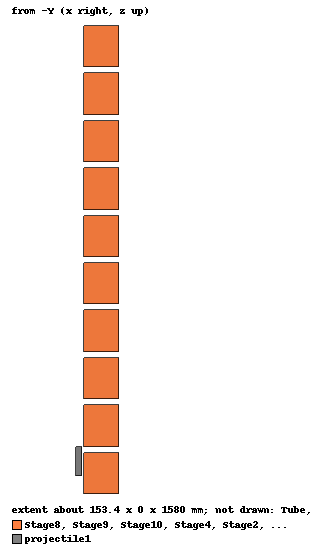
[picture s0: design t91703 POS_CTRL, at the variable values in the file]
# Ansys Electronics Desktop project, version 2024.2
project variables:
  $coilLen1 = 140mm  # optimise 12.5mm..37.5mm
  $coilLen2 = 140mm  # optimise 10mm..30mm
  $coilLen3 = 140mm  # optimise 12.5mm..37.5mm
  $coilLen4 = 140mm  # optimise 12.5mm..37.5mm
  $coilLen5 = 140mm  # optimise 12.5mm..37.5mm
  $coilLen6 = 140mm  # optimise 12.5mm..37.5mm
  $coilLen7 = 140mm  # optimise 12.5mm..37.5mm
  $coilLen8 = 140mm  # optimise 12.5mm..37.5mm
  $coilLen9 = 140mm  # optimise 10mm..30mm
  $coilLen10 = 140mm  # optimise 10mm..30mm
  $initZ = 60mm  # optimise -25mm..0mm
  $Turn1 = 120  # optimise 100..300
  $Turn2 = 120  # optimise 100..300
  $Turn3 = 120  # optimise 100..300
  $Turn4 = 120  # optimise 100..300
  $Turn5 = 120  # optimise 100..300
  $Turn6 = 120  # optimise 100..300
  $Turn7 = 120  # optimise 100..300
  $Turn8 = 120  # optimise 100..300
  $Turn9 = 120  # optimise 125..375
  $Turn10 = 120  # optimise 75..225
  $C1 = 3000uF  # optimise 240uF..720uF
  $V = 3000V
  $POSdur1 = 40mm  # optimise 5.10705373801095mm..15.3211612140328mm
  $holeD = 2*($tubeGap+$projRadius)
  $p = if($idx_Material==1, 2.65e-8, 1.75e-8)  # Resistivity of copper
  $C2 = 3000uF  # optimise 180uF..540uF
  $C3 = 3000uF  # optimise 120uF..360uF
  $C4 = 3000uF  # optimise 60uF..180uF
  $C5 = 3000uF  # optimise 120uF..360uF
  $C6 = 3000uF  # optimise 60uF..180uF
  $Rlast = 3.102062ohm  # optimise 1.35ohm..4.05ohm
  $POSdur2 = 60mm  # optimise 6.3223486477022mm..18.9670459431066mm
  $POSon2 = 130mm  # optimise 7.00235344105195mm..21.0070603231559mm
  $POSdur3 = 60mm  # optimise 6.29933300393615mm..18.8979990118084mm
  $g2 = 130mm  # optimise 14.0771126732556mm..42.231338019767mm
  $POSdur4 = 60mm  # optimise 7.2608877583829mm..21.7826632751487mm
  $g3 = 130mm  # optimise 8.3902807814862mm..25.1708423444586mm
  $POSdur5 = 60mm  # optimise 7.2230176864864mm..21.6690530594592mm
  $g4 = 130mm  # optimise 8.0289155274489mm..24.0867465823467mm
  $POSdur6 = 60mm  # optimise 6.5180478499143mm..19.5541435497429mm
  $g5 = 130mm  # optimise 12.9083625924267mm..38.7250877772801mm
  $g6 = 130mm  # optimise 7.5mm..22.5mm
  $C10 = 3000uF  # optimise 120uF..360uF
  $C9 = 3000uF  # optimise 120uF..360uF
  $C8 = 3000uF  # optimise 120uF..360uF
  $C7 = 3000uF  # optimise 120uF..360uF
  $POSdur7 = 60mm  # optimise 5mm..15mm
  $POSdur8 = 60mm  # optimise 7.5mm..22.5mm
  $POSdur9 = 60mm  # optimise 7.5mm..22.5mm
  $POSdur10 = 60mm  # optimise 8mm..24mm
  $g7 = 130mm  # optimise 5mm..15mm
  $g8 = 130mm  # optimise 8mm..24mm
  $g9 = 130mm  # optimise 5mm..15mm
  $Clast = 2uF
  $projLen = 100mm  # optimise 50mm..150mm
  $projRadius = 100mm
  $tubeGap = 5mm
  $coilThick1 = 120mm  # optimise 25mm..75mm
  $coilThick2 = 120mm  # optimise 25mm..75mm
  $coilThick3 = 120mm  # optimise 25mm..75mm
  $coilThick4 = 120mm  # optimise 25mm..75mm
  $coilThick5 = 120mm  # optimise 25mm..75mm
  $coilThick6 = 120mm  # optimise 25mm..75mm
  $coilThick7 = 120mm  # optimise 25mm..75mm
  $coilThick8 = 120mm  # optimise 25mm..75mm
  $coilThick9 = 120mm  # optimise 25mm..75mm
  $coilThick10 = 120mm  # optimise 25mm..75mm
  $kcoil = 0.72  # Filling constant of coil
  $OuterCoilRadius1 = $projRadius+$tubeGap+$coilThick1
  $OuterCoilRadius2 = $tubeGap+$projRadius+$coilThick2
  $OuterCoilRadius3 = $tubeGap+$projRadius+$coilThick3
  $OuterCoilRadius10 = $tubeGap+$projRadius+$coilThick10
  $OuterCoilRadius4 = $tubeGap+$projRadius+$coilThick4
  $OuterCoilRadius5 = $tubeGap+$projRadius+$coilThick5
  $OuterCoilRadius6 = $tubeGap+$projRadius+$coilThick6
  $OuterCoilRadius7 = $tubeGap+$projRadius+$coilThick7
  $OuterCoilRadius8 = $tubeGap+$projRadius+$coilThick8
  $OuterCoilRadius9 = $tubeGap+$projRadius+$coilThick9
  $projThick = 20mm  # optimise 10mm..30mm
  $idx_Material = 1  # coil material 1=Al, 0=Cu; optimise -1..1
  $density = if($idx_Material==1, 2.7e6, 8.92e6)
  $StoreEnergy = ($V)^2*($C1+$C2+$C3+$C4+$C5+$C6+$C7+$C8+$C9+$C10)*0.5
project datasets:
  $Electrical_conductivity_with_temperature_109: units cel, : (19.85, 1.00592) (87.22, 0.820363) (154.6, 0.6713) (222, 0.553591) (289.3, 0.461069) (356.7, 0.388079) (424.1, 0.329996) (491.4, 0.283221) (558.8, 0.245355) (626.2, 0.214343) (693.5, 0.188471) (760.9, 0.167037) (828.3, 0.154461) (895.6, 0.150845) (963, 0.147847) (1030, 0.145328) (1098, 0.14317) (1165, 0.141285) (1232, 0.139571) (1300, 0.137961)
  $Thermal_conductivity_with_temperature_109: units cel, : (-240.2, 0.538415) (-204.3, 0.863607) (-168.5, 0.990358) (-132.6, 1.02269) (-96.74, 1.02399) (-60.87, 1.02029) (-25.01, 1.01382) (10.86, 1.00385) (46.72, 0.991466) (82.59, 0.976685) (118.5, 0.960425) (154.3, 0.942687) (190.2, 0.923841) (226.1, 0.904071) (261.9, 0.883746) (297.8, 0.863237) (333.6, 0.842174) (369.5, 0.82074) (405.4, 0.799307) (441.2, 0.777135) (477.1, 0.754778) (513, 0.731867) (548.8, 0.708032) (584.7, 0.683273) (620.6, 0.657036) (656.4, 0.629136) (692.3, 0.599019) (728.2, 0.566315) (764, 0.530285) (799.9, 0.49056)
  $Specific_heat_capacity_with_temperature_109: units cel, : (19.85, 0.998793) (80.96, 1.03309) (142.1, 1.05482) (203.2, 1.08454) (264.3, 1.13558) (325.4, 1.21434) (386.5, 1.31983) (447.6, 1.44385) (508.7, 1.57087) (569.9, 1.67835)
  $Tensile_modulus_with_temperature_109: units cel, : (-260.2, 1.04416) (-182.3, 1.0371) (-104.4, 1.02344) (-26.47, 1.00791) (51.43, 0.995198) (129.3, 0.979663) (207.2, 0.958478) (285.1, 0.931174) (363, 0.89775) (440.9, 0.858205) (518.8, 0.812541) (596.7, 0.760757) (674.6, 0.702853) (752.5, 0.639299) (830.4, 0.601167) (908.3, 0.576217) (986.2, 0.551266) (1064, 0.526316) (1142, 0.501836) (1220, 0.476885)
  $Thermal_expansion_coefficient_with_temperature_109: units cel, : (-270.1, 0.599301) (-227.9, 0.719302) (-185.7, 0.804904) (-143.5, 0.866173) (-101.3, 0.911162) (-59.04, 0.946173) (-16.82, 0.975057) (25.41, 1.00219) (67.63, 1.02845) (109.9, 1.05471) (152.1, 1.08184) (194.3, 1.10897) (236.5, 1.13611) (278.7, 1.16149) (321, 1.18425) (363.2, 1.20438) (405.4, 1.22189) (447.6, 1.23939) (489.9, 1.25427) (532.1, 1.26827) (574.3, 1.27965) (616.5, 1.29016) (658.7, 1.29803) (701, 1.30066) (743.2, 1.13436) (785.4, 0.958427) (827.6, 0.982935) (869.9, 1.02582)
  $Electrical_conductivity_with_temperature_649: units cel, : (-260.2, 1.46789) (-199.1, 1.32669) (-138, 1.21273) (-76.99, 1.11955) (-15.94, 1.04142) (45.11, 0.974768) (106.2, 0.918145) (167.2, 0.86869) (228.3, 0.825685) (289.3, 0.788415) (350.4, 0.754728) (411.4, 0.725342) (472.5, 0.698464) (533.5, 0.674596) (594.6, 0.653094) (655.6, 0.633599) (716.7, 0.615895) (777.7, 0.599912) (838.8, 0.585291) (899.9, 0.571959)
  $Thermal_conductivity_with_temperature_649: units cel, : (20, 0.998604) (21.1114, 0.999383) (37.7781, 1.011) (65.5559, 1.04587) (93.3336, 1.08073) (121.111, 1.11559) (148.889, 1.13883) (176.667, 1.17369) (204.445, 1.20855) (232.223, 1.23179) (260, 1.26666) (287.778, 1.2899) (315.556, 1.31314) (343.334, 1.348) (371.112, 1.37124) (398.889, 1.39449) (426.667, 1.42935) (454.445, 1.45259) (482.223, 1.47583) (510.001, 1.49907) (537.778, 1.52231) (565.556, 1.55717) (593.334, 1.58042) (621.112, 1.60366) (648.89, 1.6269) (676.667, 1.66176) (704.445, 1.685) (732.223, 1.70824) (760.001, 1.73148) (787.779, 1.75473) (815.556, 1.77797)
  $Specific_heat_capacity_with_temperature_649: units cel, : (-260.2, 0.0150354) (-192.3, 0.46157) (-124.4, 0.758641) (-56.47, 0.915951) (11.43, 0.995029) (79.32, 1.02696) (147.2, 1.0481) (215.1, 1.05867) (283, 1.06628) (350.9, 1.07601) (418.8, 1.09102) (486.7, 1.1128) (554.6, 1.14092) (622.5, 1.17412) (690.4, 1.21006) (758.3, 1.24622) (826.2, 1.2792) (894.1, 1.30584) (962, 1.32382) (1030, 1.33037)
  $Tensile_modulus_with_temperature_649: units cel, : (-198.333, 1.07104) (-128.889, 1.04983) (-73.3332, 1.03216) (21.1114, 1.00035) (93.3336, 0.97207) (148.889, 0.954393) (204.445, 0.933189) (260, 0.915512) (315.556, 0.894302) (371.112, 0.87663) (426.667, 0.851888) (482.223, 0.830679) (537.778, 0.805932) (593.334, 0.777657) (648.89, 0.749378) (704.445, 0.717566) (760.001, 0.67868) (815.556, 0.639798)
  $Thermal_expansion_coefficient_with_temperature_649: units cel, : (-260.2, 0.693012) (-171.7, 0.875792) (-83.31, 0.961046) (5.113, 0.993339) (93.53, 1.02822) (182, 1.06051) (270.4, 1.09216) (358.8, 1.12187) (447.2, 1.15093) (535.6, 1.17806) (624.1, 1.20324) (712.5, 1.22714) (800.9, 1.25039) (889.3, 1.27106) (977.7, 1.29108) (1066, 1.30917) (1155, 1.32596) (1243, 1.34146) (1331, 1.35567) (1420, 1.36794)
  $Thermal_conductivity_with_temperature_110: units cel, : (-240.2, 0.538415) (-204.3, 0.863607) (-168.5, 0.990358) (-132.6, 1.02269) (-96.74, 1.02399) (-60.87, 1.02029) (-25.01, 1.01382) (10.86, 1.00385) (46.72, 0.991466) (82.59, 0.976685) (118.5, 0.960425) (154.3, 0.942687) (190.2, 0.923841) (226.1, 0.904071) (261.9, 0.883746) (297.8, 0.863237) (333.6, 0.842174) (369.5, 0.82074) (405.4, 0.799307) (441.2, 0.777135) (477.1, 0.754778) (513, 0.731867) (548.8, 0.708032) (584.7, 0.683273) (620.6, 0.657036) (656.4, 0.629136) (692.3, 0.599019) (728.2, 0.566315) (764, 0.530285) (799.9, 0.49056)
  $Specific_heat_capacity_with_temperature_110: units cel, : (19.85, 0.998793) (80.96, 1.03309) (142.1, 1.05482) (203.2, 1.08454) (264.3, 1.13558) (325.4, 1.21434) (386.5, 1.31983) (447.6, 1.44385) (508.7, 1.57087) (569.9, 1.67835)
  $Tensile_modulus_with_temperature_110: units cel, : (-260.2, 1.04416) (-182.3, 1.0371) (-104.4, 1.02344) (-26.47, 1.00791) (51.43, 0.995198) (129.3, 0.979663) (207.2, 0.958478) (285.1, 0.931174) (363, 0.89775) (440.9, 0.858205) (518.8, 0.812541) (596.7, 0.760757) (674.6, 0.702853) (752.5, 0.639299) (830.4, 0.601167) (908.3, 0.576217) (986.2, 0.551266) (1064, 0.526316) (1142, 0.501836) (1220, 0.476885)
  $Thermal_expansion_coefficient_with_temperature_110: units cel, : (-270.1, 0.599301) (-227.9, 0.719302) (-185.7, 0.804904) (-143.5, 0.866173) (-101.3, 0.911162) (-59.04, 0.946173) (-16.82, 0.975057) (25.41, 1.00219) (67.63, 1.02845) (109.9, 1.05471) (152.1, 1.08184) (194.3, 1.10897) (236.5, 1.13611) (278.7, 1.16149) (321, 1.18425) (363.2, 1.20438) (405.4, 1.22189) (447.6, 1.23939) (489.9, 1.25427) (532.1, 1.26827) (574.3, 1.27965) (616.5, 1.29016) (658.7, 1.29803) (701, 1.30066) (743.2, 1.13436) (785.4, 0.958427) (827.6, 0.982935) (869.9, 1.02582)
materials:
  vacuum: permittivity=1
  air: permittivity=1.0006 permeability=1.0000004
  copper: permeability=0.999991 conductivity=58000000
  Carbon steel, 1020, annealed: thermal_modifier{Property=conductivity free_form_value=pwl($Electrical_conductivity_with_temperature_109,Temp)} permeability{HUnit=A_per_meter BUnit=tesla curve (0, 0) (93.431, 0.1) (184.492, 0.2) (272.485, 0.3) (359.071, 0.4) (446.984, 0.5) (539.469, 0.6) (639.972, 0.7) (753.503, 0.8) (888.051, 0.9) (1054.93, 1) (1270.65, 1.1) (1564.33, 1.2) (2017.57, 1.3) (2549.14, 1.4) (3839.2, 1.5) (5697.81, 1.6) (8520.8, 1.7) (13947.8, 1.8) (22264, 1.9) (43990.5, 2) (84672.4, 2.1) (144786, 2.2) (217003, 2.3) (294443, 2.4) (489500, 2.6492) (813770, 3.0591)} conductivity=5836440
  Stainless steel, 304, annealed: thermal_modifier{Property=conductivity free_form_value=pwl($Electrical_conductivity_with_temperature_649,Temp)} conductivity=1395200
  Carbon steel, 1020, as rolled: permeability{HUnit=A_per_meter BUnit=tesla curve (0, 0) (394, 0.198) (1969, 1.178) (2756, 1.395) (3937, 1.55) (7874, 1.756) (19685, 1.995) (39370.2, 2.193) (78740, 2.391) (157480, 2.589) (314960, 2.885) (629920, 3.36) (944880, 3.76) (1717000, 4.736)} conductivity=5899600
  aluminum: permeability=1.000021 conductivity=38000000

design t91703 POS_CTRL (Maxwell 2D, Transient, about Z geometry, model units mm)
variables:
  Gap = 20mm  # optimise 4mm..30mm
  MassTotal = (MassCapacitor+MassCoil+MassProjectile) kg
  MassCoil = $density*$kcoil*3.14/4*(((2*$OuterCoilRadius1)^2-$holeD^2)*$coilLen1+((2*$OuterCoilRadius2)^2-$holeD^2)*$coilLen2+((2*$OuterCoilRadius3)^2-$holeD^2)*$coilLen3+((2*$OuterCoilRadius4)^2-$holeD^2)*$coilLen4+((2*$OuterCoilRadius5)^2-$holeD^2)*$coilLen5+((2*$OuterCoilRadius6)^2-$holeD^2)*$coilLen6+((2*$OuterCoilRadius7)^2-$holeD^2)*$coilLen7+((2*$OuterCoilRadius8)^2-$holeD^2)*$coilLen8+((2*$OuterCoilRadius9)^2-$holeD^2)*$coilLen9+((2*$OuterCoilRadius10)^2-$holeD^2)*$coilLen10) gram
  MassCapacitor = ($StoreEnergy/0.8) gram
  MassProjectile = (5000+3.14*($projRadius^2-($projRadius-$projThick)^2)*$projLen*2.7e6) gram
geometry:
  Tube [air] = rectangle(corner=(0mm, 0mm, -300mm), z_size=3000mm, x_size=$projRadius+5mm)
  Stage1 [copper] = rectangle(corner=($projRadius+$tubeGap, 0mm, 0mm), z_size=$coilLen1, x_size=$coilThick1)
  Stage2 [copper] = rectangle(corner=($projRadius+$tubeGap, 0mm, $coilLen1+Gap), z_size=$coilLen2, x_size=$coilThick2)
  Stage3 [copper] = rectangle(corner=($projRadius+$tubeGap, 0mm, 2*Gap+$coilLen1+$coilLen2), z_size=$coilLen3, x_size=$coilThick3)
  Stage4 [copper] = rectangle(corner=($projRadius+$tubeGap, 0mm, 3*Gap+$coilLen1+$coilLen2+$coilLen3), z_size=$coilLen4, x_size=$coilThick4)
  Stage5 [copper] = rectangle(corner=($projRadius+$tubeGap, 0mm, 4*Gap+$coilLen4+$coilLen1+$coilLen2+$coilLen3), z_size=$coilLen5, x_size=$coilThick5)
  Stage6 [copper] = rectangle(corner=($projRadius+$tubeGap, 0mm, 5*Gap+$coilLen5+$coilLen4+$coilLen1+$coilLen2+$coilLen3), z_size=$coilLen6, x_size=$coilThick6)
  Stage7 [copper] = rectangle(corner=($projRadius+$tubeGap, 0mm, 6*Gap+$coilLen6+$coilLen5+$coilLen4+$coilLen1+$coilLen2+$coilLen3), z_size=$coilLen7, x_size=$coilThick7)
  Stage8 [copper] = rectangle(corner=($projRadius+$tubeGap, 0mm, 7*Gap+$coilLen7+$coilLen6+$coilLen5+$coilLen4+$coilLen1+$coilLen2+$coilLen3), z_size=$coilLen8, x_size=$coilThick8)
  Stage9 [copper] = rectangle(corner=($projRadius+$tubeGap, 0mm, 8*Gap+$coilLen8+$coilLen7+$coilLen6+$coilLen5+$coilLen4+$coilLen1+$coilLen2+$coilLen3), z_size=$coilLen9, x_size=$coilThick9)
  Stage10 [copper] = rectangle(corner=($projRadius+$tubeGap, 0mm, 9*Gap+$coilLen9+$coilLen8+$coilLen7+$coilLen6+$coilLen5+$coilLen4+$coilLen1+$coilLen2+$coilLen3), z_size=$coilLen10, x_size=$coilThick10)
  Region [vacuum] = region(+X=25 percentage offset, -X=0mm absolute position, +Y=0 percentage offset, -Y=0 percentage offset, +Z=10 percentage offset, -Z=10 percentage offset)
  projectile1 [aluminum] = rectangle(corner=(0mm, 0mm, $initZ), z_size=$projLen, x_size=$projRadius)
  Rectangle1 = rectangle(corner=(0mm, 0mm, $initZ), z_size=$projLen, x_size=$projRadius-$projThick)
  projectile1.subtract(Rectangle1)
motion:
  MotionSetup1: Band Move_Type=Translate Coordinate_System=Global PostProcessing_Coordinate_System=Global Axis=Z Is_Positive=true InitPos=0mm NegativePos=-100mm PositivePos=2200mm Velocity=0m_per_sec Mass=MassProjectile Damping=0 Load_Force=0newton Objects=Tube
  Moving1: Moving Objects=projectile1
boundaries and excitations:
  Balloon1: Balloon Edges=Region.edge(all 4)
  Stage1: Coil Objects=Stage1 Conductor_number=$Turn1 Winding=Winding1 PolarityType=Positive
  Stage2: Coil Objects=Stage2 Conductor_number=$Turn2 Winding=Winding2 PolarityType=Positive
  Stage3: Coil Objects=Stage3 Conductor_number=$Turn3 Winding=Winding3 PolarityType=Positive
  Stage5: Coil Objects=Stage5 Conductor_number=$Turn5 Winding=Winding5 PolarityType=Positive
  Stage6: Coil Objects=Stage6 Conductor_number=$Turn6 Winding=Winding6 PolarityType=Positive
  Stage7: Coil Objects=Stage7 Conductor_number=$Turn7 Winding=Winding7 PolarityType=Positive
  Stage8: Coil Objects=Stage8 Conductor_number=$Turn8 Winding=Winding8 PolarityType=Positive
  Stage9: Coil Objects=Stage9 Conductor_number=$Turn9 Winding=Winding9 PolarityType=Positive
  Stage10: Coil Objects=Stage10 Conductor_number=$Turn10 Winding=Winding10 PolarityType=Positive
  Stage4: Coil Objects=Stage4 Conductor_number=$Turn4 Winding=Winding4 PolarityType=Positive
  Winding1: Winding Group Type=External IsSolid=false Current=0.1mA ParallelBranchesNum=1
  Winding2: Winding Group Type=External IsSolid=false Current=0.1mA ParallelBranchesNum=1
  Winding3: Winding Group Type=External IsSolid=false Current=0.1mA ParallelBranchesNum=1
  Winding4: Winding Group Type=External IsSolid=false Current=0.1mA ParallelBranchesNum=1
  Winding5: Winding Group Type=External IsSolid=false Current=0.1mA ParallelBranchesNum=1
  Winding6: Winding Group Type=External IsSolid=false Current=0.1mA ParallelBranchesNum=1
  Winding7: Winding Group Type=External IsSolid=false Current=0.1mA ParallelBranchesNum=1
  Winding8: Winding Group Type=External IsSolid=false Current=0.1mA ParallelBranchesNum=1
  Winding9: Winding Group Type=External IsSolid=false Current=0.1mA ParallelBranchesNum=1
  Winding10: Winding Group Type=External IsSolid=false Current=0.1mA ParallelBranchesNum=1
  eddy effects on: projectile1
  external circuit: "* Design: BOOST10_POS_CTRL"
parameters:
  Force1: Force Reference_CS=Global Objects=projectile1
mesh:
  Length2: LengthBased Objects=Tube MaxLength=20mm
  Length3: LengthBased Objects=[Stage10, Stage1..Stage9] MaxLength=5mm
  Length1: LengthBased Objects=projectile1 MaxLength=5mm
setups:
  Setup1: Transient NonlinearSolverResidual=0.0001 StopTime=60ms TimeStep=75us InitialTimeStep=0.002s MinTimeStep=0.001s MaxTimeStep=0.003s TimeStepErrTolerance=0.0001
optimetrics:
  OptimizationSetup1: Optimization InterpolationPoints=0 Optimizer="DX SCREENING" AnalysisStopOptions{StopForNumIteration MaxNumIteration=100 MinNumIteration=10} CostFuncNormType=L2 Acceptable_Cost=0 Noise=0.0001 UpdateDesignWhenDone
    vary $C1: Min=100uF Max=6000uF MinStep=4.8uF MaxStep=48uF MinFocus=240uF MaxFocus=720uF start=3000uF
    vary $C10: Min=100uF Max=2000uF MinStep=2.4uF MaxStep=24uF MinFocus=120uF MaxFocus=360uF start=500uF
    vary $C2: Min=100uF Max=4000uF MinStep=3.6uF MaxStep=36uF MinFocus=180uF MaxFocus=540uF start=3000uF
    vary $C3: Min=100uF Max=4000uF MinStep=2.4uF MaxStep=24uF MinFocus=120uF MaxFocus=360uF start=3000uF
    vary $C4: Min=100uF Max=3000uF MinStep=1.2uF MaxStep=12uF MinFocus=60uF MaxFocus=180uF start=3000uF
    vary $C5: Min=100uF Max=3000uF MinStep=2.4uF MaxStep=24uF MinFocus=120uF MaxFocus=360uF start=3000uF
    vary $C6: Min=100uF Max=3000uF MinStep=1.2uF MaxStep=12uF MinFocus=60uF MaxFocus=180uF start=3000uF
    vary $C7: Min=100uF Max=3000uF MinStep=2.4uF MaxStep=24uF MinFocus=120uF MaxFocus=360uF start=3000uF
    vary $C8: Min=100uF Max=2000uF MinStep=2.4uF MaxStep=24uF MinFocus=120uF MaxFocus=360uF start=1000uF
    vary $C9: Min=100uF Max=2000uF MinStep=2.4uF MaxStep=24uF MinFocus=120uF MaxFocus=360uF start=500uF
    vary $POSdur1: Min=1mm Max=200mm MinStep=0.10214107mm MaxStep=1.0214107mm MinFocus=5.1070537mm MaxFocus=15.321161mm start=60mm
    vary $POSdur10: Min=1mm Max=200mm MinStep=0.16mm MaxStep=1.6mm MinFocus=8mm MaxFocus=24mm start=60mm
    vary $POSdur2: Min=1mm Max=200mm MinStep=0.12644697mm MaxStep=1.2644697mm MinFocus=6.3223486mm MaxFocus=18.967046mm start=60mm
    vary $POSdur3: Min=1mm Max=200mm MinStep=0.12598666mm MaxStep=1.2598666mm MinFocus=6.299333mm MaxFocus=18.897999mm start=60mm
    vary $POSdur4: Min=1mm Max=200mm MinStep=0.14521776mm MaxStep=1.4521776mm MinFocus=7.2608878mm MaxFocus=21.782663mm start=60mm
    vary $POSdur5: Min=1mm Max=200mm MinStep=0.14446035mm MaxStep=1.4446035mm MinFocus=7.2230177mm MaxFocus=21.669053mm start=60mm
    vary $POSdur6: Min=1mm Max=200mm MinStep=0.13036096mm MaxStep=1.3036096mm MinFocus=6.5180478mm MaxFocus=19.554144mm start=60mm
    vary $POSdur7: Min=1mm Max=200mm MinStep=0.1mm MaxStep=1mm MinFocus=5mm MaxFocus=15mm start=60mm
    vary $POSdur8: Min=1mm Max=200mm MinStep=0.15mm MaxStep=1.5mm MinFocus=7.5mm MaxFocus=22.5mm start=60mm
    vary $POSdur9: Min=1mm Max=200mm MinStep=0.15mm MaxStep=1.5mm MinFocus=7.5mm MaxFocus=22.5mm start=60mm
    vary $POSon2: Min=1mm Max=200mm MinStep=0.14004707mm MaxStep=1.4004707mm MinFocus=7.0023534mm MaxFocus=21.00706mm start=55mm
    vary $Rlast: Min=0.1ohm Max=25ohm MinStep=0.027ohm MaxStep=0.27ohm MinFocus=1.35ohm MaxFocus=4.05ohm start=3.102062ohm
    vary $Turn1: Min=30 Max=500 MinStep=2 MaxStep=20 MinFocus=100 MaxFocus=300 start=200
    vary $Turn10: Min=30 Max=500 MinStep=1.5 MaxStep=15 MinFocus=75 MaxFocus=225 start=200
    vary $Turn2: Min=30 Max=500 MinStep=2 MaxStep=20 MinFocus=100 MaxFocus=300 start=200
    vary $Turn3: Min=30 Max=500 MinStep=2 MaxStep=20 MinFocus=100 MaxFocus=300 start=200
    vary $Turn4: Min=30 Max=500 MinStep=2 MaxStep=20 MinFocus=100 MaxFocus=300 start=200
    vary $Turn5: Min=30 Max=500 MinStep=2 MaxStep=20 MinFocus=100 MaxFocus=300 start=200
    vary $Turn6: Min=30 Max=500 MinStep=2 MaxStep=20 MinFocus=100 MaxFocus=300 start=200
    vary $Turn7: Min=30 Max=500 MinStep=2 MaxStep=20 MinFocus=100 MaxFocus=300 start=200
    vary $Turn8: Min=30 Max=500 MinStep=2 MaxStep=20 MinFocus=100 MaxFocus=300 start=200
    vary $Turn9: Min=30 Max=500 MinStep=2.5 MaxStep=25 MinFocus=125 MaxFocus=375 start=200
    vary $coilLen1: Min=40mm Max=200mm MinStep=0.25mm MaxStep=2.5mm MinFocus=12.5mm MaxFocus=37.5mm start=80mm
    vary $coilLen10: Min=40mm Max=200mm MinStep=0.2mm MaxStep=2mm MinFocus=10mm MaxFocus=30mm start=80mm
    vary $coilLen2: Min=40mm Max=200mm MinStep=0.2mm MaxStep=2mm MinFocus=10mm MaxFocus=30mm start=80mm
    vary $coilLen3: Min=40mm Max=200mm MinStep=0.25mm MaxStep=2.5mm MinFocus=12.5mm MaxFocus=37.5mm start=80mm
    vary $coilLen4: Min=40mm Max=200mm MinStep=0.25mm MaxStep=2.5mm MinFocus=12.5mm MaxFocus=37.5mm start=80mm
    vary $coilLen5: Min=40mm Max=200mm MinStep=0.25mm MaxStep=2.5mm MinFocus=12.5mm MaxFocus=37.5mm start=80mm
    vary $coilLen6: Min=40mm Max=200mm MinStep=0.25mm MaxStep=2.5mm MinFocus=12.5mm MaxFocus=37.5mm start=80mm
    vary $coilLen7: Min=40mm Max=200mm MinStep=0.25mm MaxStep=2.5mm MinFocus=12.5mm MaxFocus=37.5mm start=80mm
    vary $coilLen8: Min=40mm Max=200mm MinStep=0.25mm MaxStep=2.5mm MinFocus=12.5mm MaxFocus=37.5mm start=80mm
    vary $coilLen9: Min=40mm Max=200mm MinStep=0.2mm MaxStep=2mm MinFocus=10mm MaxFocus=30mm start=80mm
    vary $coilThick1: Min=25mm Max=75mm MinStep=0.5mm MaxStep=5mm MinFocus=25mm MaxFocus=75mm start=50mm
    vary $coilThick10: Min=25mm Max=75mm MinStep=0.5mm MaxStep=5mm MinFocus=25mm MaxFocus=75mm start=50mm
    vary $coilThick2: Min=25mm Max=75mm MinStep=0.5mm MaxStep=5mm MinFocus=25mm MaxFocus=75mm start=50mm
    vary $coilThick3: Min=25mm Max=75mm MinStep=0.5mm MaxStep=5mm MinFocus=25mm MaxFocus=75mm start=50mm
    vary $coilThick4: Min=25mm Max=75mm MinStep=0.5mm MaxStep=5mm MinFocus=25mm MaxFocus=75mm start=50mm
    vary $coilThick5: Min=25mm Max=75mm MinStep=0.5mm MaxStep=5mm MinFocus=25mm MaxFocus=75mm start=50mm
    vary $coilThick6: Min=25mm Max=75mm MinStep=0.5mm MaxStep=5mm MinFocus=25mm MaxFocus=75mm start=50mm
    vary $coilThick7: Min=25mm Max=75mm MinStep=0.5mm MaxStep=5mm MinFocus=25mm MaxFocus=75mm start=50mm
    vary $coilThick8: Min=25mm Max=75mm MinStep=0.5mm MaxStep=5mm MinFocus=25mm MaxFocus=75mm start=50mm
    vary $coilThick9: Min=25mm Max=75mm MinStep=0.5mm MaxStep=5mm MinFocus=25mm MaxFocus=75mm start=50mm
    vary $g2: Min=10mm Max=200mm MinStep=0.28154225mm MaxStep=2.8154225mm MinFocus=14.077113mm MaxFocus=42.231338mm start=70mm
    vary $g3: Min=10mm Max=200mm MinStep=0.16780562mm MaxStep=1.6780562mm MinFocus=8.3902808mm MaxFocus=25.170842mm start=70mm
    vary $g4: Min=10mm Max=200mm MinStep=0.16057831mm MaxStep=1.6057831mm MinFocus=8.0289155mm MaxFocus=24.086747mm start=70mm
    vary $g5: Min=10mm Max=200mm MinStep=0.25816725mm MaxStep=2.5816725mm MinFocus=12.908363mm MaxFocus=38.725088mm start=70mm
    vary $g6: Min=10mm Max=200mm MinStep=0.15mm MaxStep=1.5mm MinFocus=7.5mm MaxFocus=22.5mm start=70mm
    vary $g7: Min=10mm Max=200mm MinStep=0.1mm MaxStep=1mm MinFocus=5mm MaxFocus=15mm start=70mm
    vary $g8: Min=10mm Max=200mm MinStep=0.16mm MaxStep=1.6mm MinFocus=8mm MaxFocus=24mm start=70mm
    vary $g9: Min=10mm Max=200mm MinStep=0.1mm MaxStep=1mm MinFocus=5mm MaxFocus=15mm start=70mm
    vary $idx_Material: Min=0 Max=1 MinStep=0.02 MaxStep=0.2 MinFocus=-1 MaxFocus=1 start=0
    vary $initZ: Min=0mm Max=180mm MinStep=0.2mm MaxStep=2mm MinFocus=-25mm MaxFocus=0mm start=0mm
    vary $projLen: Min=30mm Max=200mm MinStep=1mm MaxStep=10mm MinFocus=50mm MaxFocus=150mm start=100mm
    vary $projThick: Min=5mm Max=40mm MinStep=0.2mm MaxStep=2mm MinFocus=10mm MaxFocus=30mm start=20mm
    vary Gap: Min=10mm Max=30mm MinStep=0.2mm MaxStep=2mm MinFocus=4mm MaxFocus=30mm start=20mm
    goal Moving1.Speed >= 200 weight 1 on Setup1 : Transient at Time all
    goal InducedVoltage(Winding10) <= 5000 weight 1 on Setup1 : Transient at Time all
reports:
  Force Plot 1: Moving1.Force_z, Moving1.Speed, Moving1.Position, deriv(Moving1.Speed) vs Time on Setup1 : Transient
  Plot 1: Moving1.Speed^2*MassProjectile*0.5/$StoreEnergy vs Time on Setup1 : Transient

design BOOST10_POS_CTRL (Maxwell Circuit)
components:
  Winding_7 = Winding(Name=Winding6)
  Winding_8 = Winding(Name=Winding7)
  Winding_9 = Winding(Name=Winding8)
  Winding_10 = Winding(Name=Winding9)
  Winding_11 = Winding(Name=Winding10)
  Winding_386 = Winding(Name=Winding1)
  DIODE_Model_394 = DIODE_Model(DeviceName=D)
  Cap_395 = Cap(C=$C1 IC=$V)
  SW_VModel_396 = SW_VModel(DeviceName=VS Von=2900V Voff=50V)
  VPulse_397 = VPulse(Tr=0us Tf=0us Pw=$POSdur1 Td=-0.001 Period=10 Type=POS Name=CTRL1 V2=1.5*$V)
  Res_398 = Res(R=100kOhm)
  DIODE_399 = DIODE(MOD=D)
  Cap_400 = Cap(C=$C2 IC=$V)
  DIODE_401 = DIODE(MOD=D)
  Cap_402 = Cap(C=$C3 IC=$V)
  DIODE_403 = DIODE(MOD=D)
  Cap_404 = Cap(C=$C4 IC=$V)
  DIODE_405 = DIODE(MOD=D)
  Cap_406 = Cap(C=$C5 IC=$V)
  DIODE_407 = DIODE(MOD=D)
  Cap_408 = Cap(C=$C6 IC=$V)
  Res_410 = Res(R=100kOhm)
  Res_411 = Res(R=100kOhm)
  Res_412 = Res(R=100kOhm)
  Res_413 = Res(R=100kOhm)
  Res_414 = Res(R=100kOhm)
  SW_V4_415 = SW_V4(MOD=VS Name=6)
  SW_V4_416 = SW_V4(MOD=VS Name=5)
  SW_V4_417 = SW_V4(MOD=VS Name=4)
  SW_V4_418 = SW_V4(MOD=VS Name=3)
  SW_V4_419 = SW_V4(MOD=VS Name=2)
  SW_V4_420 = SW_V4(MOD=VS Name=1)
  VoltmeterG_421 = VoltmeterG(Name=VC1)
  VoltmeterG_422 = VoltmeterG(Name=VC2)
  VoltmeterG_423 = VoltmeterG(Name=VC3)
  VoltmeterG_424 = VoltmeterG(Name=VC4)
  VoltmeterG_425 = VoltmeterG(Name=VC5)
  VoltmeterG_426 = VoltmeterG(Name=VC6)
  VoltmeterG_427 = VoltmeterG(Name=CTRL1)
  VoltmeterG_428 = VoltmeterG(Name=CTRL2)
  VoltmeterG_429 = VoltmeterG(Name=CTRL3)
  VoltmeterG_430 = VoltmeterG(Name=CTRL4)
  VoltmeterG_431 = VoltmeterG(Name=CTRL5)
  VoltmeterG_432 = VoltmeterG(Name=CTRL6)
  DIODE_434 = DIODE(MOD=D)
  DIODE_435 = DIODE(MOD=D)
  DIODE_436 = DIODE(MOD=D)
  DIODE_437 = DIODE(MOD=D)
  DIODE_438 = DIODE(MOD=D)
  Res_439 = Res(R=0.6ohm Name=ESR1)
  Ammeter_440 = Ammeter(Name=Fwh5)
  Ammeter_441 = Ammeter(Name=Fwh4)
  Ammeter_442 = Ammeter(Name=Fwh3)
  Ammeter_443 = Ammeter(Name=Fwh2)
  Ammeter_444 = Ammeter(Name=Fwh1)
  Res_445 = Res(R=$p*3.14*($Turn1)^2*($holeD+2*$OuterCoilRadius1)/($kcoil*$coilLen1*2*$coilThick1) Name=DCR1)
  VPulse_446 = VPulse(Tr=0us Tf=0us Pw=$POSdur2 Td=$POSon2 Period=10 Type=POS Name=CTRL2 V2=1.5*$V)
  VPulse_447 = VPulse(Tr=0us Tf=0us Pw=$POSdur3 Td=$POSon2+$g2 Period=10 Type=POS Name=CTRL3 V2=1.5*$V)
  Res_449 = Res(R=$p*3.14*($Turn2)^2*($holeD+2*$OuterCoilRadius2)/($kcoil*$coilLen2*2*$coilThick2) Name=DCR2)
  Res_450 = Res(R=$p*3.14*($Turn3)^2*($holeD+2*$OuterCoilRadius3)/($kcoil*$coilLen3*2*$coilThick3) Name=DCR3)
  Res_451 = Res(R=$p*3.14*($Turn4)^2*($holeD+2*$OuterCoilRadius4)/($kcoil*$coilLen4*2*$coilThick4) Name=DCR4)
  Res_452 = Res(R=$p*3.14*($Turn5)^2*($holeD+2*$OuterCoilRadius5)/($kcoil*$coilLen5*2*$coilThick5) Name=DCR5)
  Res_453 = Res(R=$p*3.14*($Turn6)^2*($holeD+2*$OuterCoilRadius6)/($kcoil*$coilLen6*2*$coilThick6) Name=DCR6)
  Res_454 = Res(R=0.6ohm Name=ESR2)
  Res_455 = Res(R=0.6ohm Name=ESR3)
  Res_456 = Res(R=0.6ohm Name=ESR4)
  Res_457 = Res(R=0.6ohm Name=ESR5)
  Res_458 = Res(R=0.6ohm Name=ESR6)
  VPulse_459 = VPulse(Tr=0us Tf=0us Pw=$POSdur4 Td=$POSon2+$g2+$g3 Period=10 Type=POS Name=CTRL4 V2=1.5*$V)
  VPulse_460 = VPulse(Tr=0us Tf=0us Pw=$POSdur5 Td=$POSon2+$g2+$g3+$g4 Period=10 Type=POS Name=CTRL5 V2=1.5*$V)
  VPulse_461 = VPulse(Tr=0us Tf=0us Pw=$POSdur6 Td=$POSon2+$g2+$g3+$g4+$g5 Period=10 Type=POS Name=CTRL6 V2=1.5*$V)
  Winding_464 = Winding(Name=Winding2)
  Winding_467 = Winding(Name=Winding3)
  Winding_470 = Winding(Name=Winding4)
  Winding_473 = Winding(Name=Winding5)
  DIODE_518 = DIODE(MOD=D)
  Cap_519 = Cap(C=$C7 IC=$V)
  Res_521 = Res(R=100kOhm)
  SW_V4_522 = SW_V4(MOD=VS)
  VoltmeterG_523 = VoltmeterG(Name=VC7)
  VoltmeterG_524 = VoltmeterG(Name=CTRL7)
  Res_527 = Res(R=$p*3.14*($Turn7)^2*($holeD+2*$OuterCoilRadius7)/($kcoil*$coilLen7*2*$coilThick7) Name=DCR7)
  Res_528 = Res(R=0.6ohm Name=ESR7)
  VPulse_529 = VPulse(Tr=0us Tf=0us Pw=$POSdur7 Td=$g6+$POSon2+$g2+$g3+$g4+$g5 Period=10 Type=POS Name=CTRL7 V2=1.5*$V)
  DIODE_533 = DIODE(MOD=D)
  Ammeter_534 = Ammeter(Name=Fwh7)
  DIODE_547 = DIODE(MOD=D)
  Cap_548 = Cap(C=$C8 IC=$V)
  Res_549 = Res(R=100kOhm)
  SW_V4_550 = SW_V4(MOD=VS)
  VoltmeterG_551 = VoltmeterG(Name=VC8)
  VoltmeterG_552 = VoltmeterG(Name=CTRL8)
  Res_553 = Res(R=$p*3.14*($Turn8)^2*($holeD+2*$OuterCoilRadius8)/($kcoil*$coilLen8*2*$coilThick8) Name=DCR8)
  Res_554 = Res(R=0.6ohm Name=ESR8)
  VPulse_555 = VPulse(Tr=0us Tf=0us Pw=$POSdur8 Td=$g7+$g6+$POSon2+$g2+$g3+$g4+$g5 Period=10 Type=POS Name=CTRL8 V2=1.5*$V)
  DIODE_556 = DIODE(MOD=D)
  Ammeter_557 = Ammeter(Name=Fwh8)
  DIODE_570 = DIODE(MOD=D)
  Cap_571 = Cap(C=$C9 IC=$V)
  Res_572 = Res(R=100kOhm)
  SW_V4_573 = SW_V4(MOD=VS)
  VoltmeterG_574 = VoltmeterG(Name=VC9)
  VoltmeterG_575 = VoltmeterG(Name=CTRL9)
  Res_576 = Res(R=$p*3.14*($Turn9)^2*($holeD+2*$OuterCoilRadius9)/($kcoil*$coilLen9*2*$coilThick9) Name=DCR9)
  Res_577 = Res(R=0.6ohm Name=ESR9)
  VPulse_578 = VPulse(Tr=0us Tf=0us Pw=$POSdur9 Td=$g6+$POSon2+$g2+$g3+$g4+$g5+$g7+$g8 Period=10 Type=POS Name=CTRL9 V2=1.5*$V)
  DIODE_579 = DIODE(MOD=D)
  Ammeter_580 = Ammeter(Name=Fwh9)
  DIODE_606 = DIODE(MOD=D)
  Cap_607 = Cap(C=$C10 IC=$V)
  Res_608 = Res(R=100kOhm)
  SW_V4_609 = SW_V4(MOD=VS)
  VoltmeterG_610 = VoltmeterG(Name=VC10)
  VoltmeterG_611 = VoltmeterG(Name=CTRL10)
  Res_612 = Res(R=$p*3.14*($Turn10)^2*($holeD+2*$OuterCoilRadius10)/($kcoil*$coilLen10*2*$coilThick10) Name=DCR10)
  Res_613 = Res(R=0.6ohm Name=ESR10)
  VPulse_614 = VPulse(Tr=0us Tf=0us Pw=$POSdur10 Td=$g6+$POSon2+$g2+$g3+$g4+$g5+$g7+$g8+$g9 Period=10 Type=POS Name=CTRL10 V2=1.5*$V)
  DIODE_615 = DIODE(MOD=D)
  Ammeter_616 = Ammeter(Name=Fwh10)
  DIODE_620 = DIODE(MOD=D)
  Ammeter_621 = Ammeter(Name=Fwh6)
  DIODE_622 = DIODE(Name=Dlast MOD=D)
  Res_623 = Res(R=$Rlast)
  Cap_624 = Cap(C=$Clast)
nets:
  0: VPulse_397.1, Cap_402.1, Res_398.0, Cap_400.1, Cap_404.1, Cap_395.1, SW_V4_420.1, SW_V4_420.3, SW_V4_417.1, SW_V4_417.3, Res_410.0, Cap_406.1, DIODE_434.0, SW_V4_415.1, SW_V4_415.3, DIODE_435.0, Res_413.0, Cap_408.1, SW_V4_418.1, SW_V4_418.3, SW_V4_419.1, SW_V4_419.3, DIODE_436.0, Res_412.0, Res_414.0, SW_V4_416.1, SW_V4_416.3, Res_411.0, VPulse_461.1, VPulse_446.1, VPulse_447.1, DIODE_438.0, VPulse_459.1, DIODE_437.0, VPulse_460.1, DIODE_533.0, Res_549.0, Cap_571.1, SW_V4_522.1, SW_V4_522.3, Cap_519.1, Res_572.0, SW_V4_573.1, SW_V4_573.3, VPulse_555.1, VPulse_529.1, Res_521.0, Cap_548.1, SW_V4_550.1, SW_V4_550.3, DIODE_556.0, Res_608.0, SW_V4_609.1, SW_V4_609.3, DIODE_579.0, VPulse_614.1, Cap_607.1, DIODE_620.0, VPulse_578.1, DIODE_615.0
  net_1: DIODE_399.0, SW_V4_420.0, Res_445.1
  net_10: SW_V4_522.2, VPulse_529.0, Res_521.1, VoltmeterG_524.0
  net_11: DIODE_570.0, SW_V4_550.0, Res_553.1
  net_12: Winding_9.1, Res_553.0
  net_13: Res_549.1, VoltmeterG_552.0, VPulse_555.0, SW_V4_550.2
  net_14: Winding_10.0, DIODE_570.1, VoltmeterG_574.0, Res_577.1, Ammeter_580.1
  net_15: SW_V4_573.0, Res_576.1, DIODE_606.0
  net_16: Winding_10.1, Res_576.0
  net_17: DIODE_401.1, VoltmeterG_423.0, Winding_467.0, Ammeter_442.1, Res_455.1
  net_18: Res_572.1, SW_V4_573.2, VoltmeterG_575.0, VPulse_578.0
  net_19: DIODE_403.0, SW_V4_418.0, Res_450.1
  net_2: Res_452.0, Winding_473.1
  net_20: Winding_11.0, VoltmeterG_610.0, Res_623.0, DIODE_606.1, Res_613.1, Ammeter_616.1, Cap_624.1
  net_21: SW_V4_609.0, Res_612.1, DIODE_622.0
  net_22: Winding_11.1, Res_612.0
  net_23: SW_V4_415.0, Res_453.1, DIODE_518.0
  net_24: Winding_386.0, VoltmeterG_421.0, Ammeter_444.1, Res_439.1
  net_25: DIODE_399.1, VoltmeterG_422.0, Winding_464.0, Res_454.1, Ammeter_443.1
  net_26: DIODE_403.1, VoltmeterG_424.0, Winding_470.0, Res_456.1, Ammeter_441.1
  net_27: DIODE_405.0, SW_V4_417.0, Res_451.1
  net_28: DIODE_405.1, VoltmeterG_425.0, Res_457.1, Winding_473.0, Ammeter_440.1
  net_29: Winding_7.0, VoltmeterG_426.0, DIODE_407.1, Res_458.1, Ammeter_621.1
  net_3: Winding_7.1, Res_453.0
  net_30: Res_410.1, VoltmeterG_428.0, SW_V4_419.2, VPulse_446.0
  net_31: VoltmeterG_429.0, SW_V4_418.2, Res_411.1, VPulse_447.0
  net_32: SW_V4_417.2, VoltmeterG_430.0, Res_412.1, VPulse_459.0
  net_33: VoltmeterG_431.0, Res_413.1, SW_V4_416.2, VPulse_460.0
  net_34: DIODE_407.0, SW_V4_416.0, Res_452.1
  net_35: Res_608.1, SW_V4_609.2, VPulse_614.0, VoltmeterG_611.0
  net_39: Cap_395.0, Res_439.0
  net_4: VPulse_397.0, Res_398.1, SW_V4_420.2, VoltmeterG_427.0
  net_41: Ammeter_440.0, DIODE_438.1
  net_42: Ammeter_441.0, DIODE_437.1
  net_43: DIODE_436.1, Ammeter_442.0
  net_45: DIODE_435.1, Ammeter_443.0
  net_46: DIODE_434.1, Ammeter_444.0
  net_5: Winding_8.0, DIODE_518.1, Res_528.1, VoltmeterG_523.0, Ammeter_534.1
  net_52: Cap_400.0, Res_454.0
  net_54: Cap_402.0, Res_455.0
  net_56: Cap_404.0, Res_456.0
  net_57: Cap_406.0, Res_457.0
  net_58: Cap_408.0, Res_458.0
  net_59: VoltmeterG_432.0, SW_V4_415.2, Res_414.1, VPulse_461.0
  net_6: SW_V4_522.0, Res_527.1, DIODE_547.0
  net_60: Winding_386.1, Res_445.0
  net_63: Winding_464.1, Res_449.0
  net_64: Winding_467.1, Res_450.0
  net_65: Winding_470.1, Res_451.0
  net_7: Winding_9.0, VoltmeterG_551.0, Ammeter_557.1, Res_554.1, DIODE_547.1
  net_70: Res_528.0, Cap_519.0
  net_74: DIODE_533.1, Ammeter_534.0
  net_75: Res_554.0, Cap_548.0
  net_76: Ammeter_557.0, DIODE_556.1
  net_78: Cap_571.0, Res_577.0
  net_79: DIODE_579.1, Ammeter_580.0
  net_8: DIODE_401.0, SW_V4_419.0, Res_449.1
  net_80: Cap_607.0, Res_613.0
  net_81: DIODE_615.1, Ammeter_616.0
  net_88: DIODE_620.1, Ammeter_621.0
  net_89: Res_623.1, DIODE_622.1, Cap_624.0
  net_9: Winding_8.1, Res_527.0
